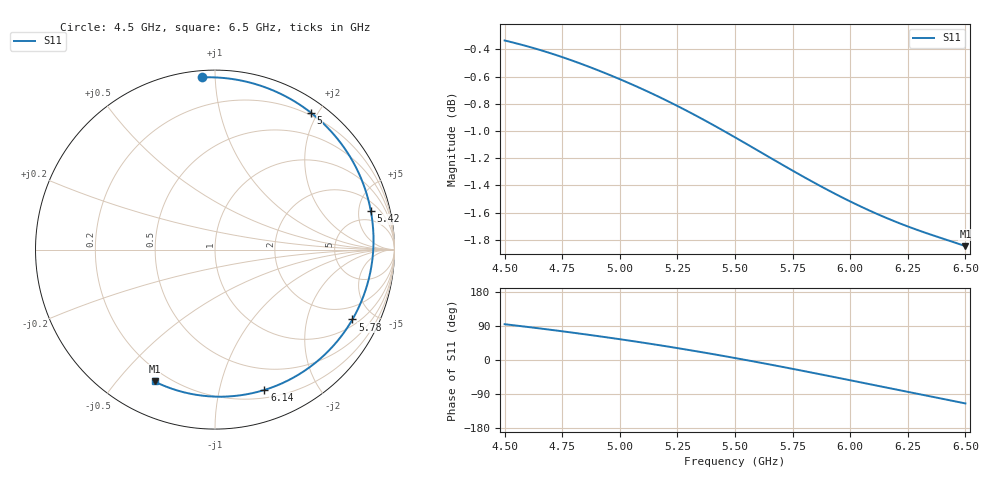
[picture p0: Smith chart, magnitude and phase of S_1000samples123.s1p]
! TOUCHSTONE file generated by CST MICROWAVE STUDIO
! Date and time: Thu Oct 27 02:00:28 2022
! Project name: L.cst
! Parameters = {Di=1.27; Epsilon_r=1.56; InnerDiameter=1.27; Length=2; Lf=10; Lg=60; OuterConductorThickness=0.2921; OuterDiameter=3.6; Wf=3; Wp=41.2; de=1.5; df=6.8; g=0.8; gx=4.29903; gy=3.35934; h=2.34; hf=1.524; px=10.1988; py=12.1568; w=9.7; wx=5.89976; wy=8.79751}
! Header version: 2018
! Port assignment regex: !\s*Touchstone port\s*([0-9]+)\s*=\s*(CST MWS port|CST DS port)\s*([0-9]+|Zmin|Zmax)\s*\(\"(.*)\"\)(\s*mode\s*([0-9]+))?.*
! Touchstone port assignment:
! Touchstone port 1 = CST MWS port 1 ("")
# GHz S DB R 50
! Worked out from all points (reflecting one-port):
!   101 points, 4.5 GHz to 6.5 GHz, reference 50 ohm
!   lowest |S11| = -1.8 dB at 6.5 GHz (marker M1), VSWR 9.44, Z = 7.44 - j31.6 ohm
!   phase of S11 starts at 94 deg and turns -209 deg over the sweep
!   S11 on the Smith chart (normalised r, x): 4.5 GHz: 0.04, +0.92; 5 GHz: 0.17, +1.91; 5.42 GHz: 3.16, +6.77; 5.78 GHz: 1.27, -3.77; 6.14 GHz: 0.28, -1.38; 6.5 GHz: 0.15, -0.63
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4.5  -0.33 94.4
4.58  -0.37 88.7
4.64  -0.40 84.2
4.76  -0.46 75.0
4.88  -0.54 65.2
5  -0.62 54.9
5.12  -0.71 43.9
5.18  -0.76 38.2
5.26  -0.82 30.4
5.34  -0.90 22.3
5.42  -0.97 13.9
5.5  -1.05 5.2
5.58  -1.13 -3.7
5.64  -1.18 -10.6
5.7  -1.24 -17.5
5.76  -1.30 -24.6
5.78  -1.32 -26.9
5.88  -1.41 -38.9
5.94  -1.47 -46.2
6  -1.52 -53.5
6.08  -1.58 -63.2
6.14  -1.63 -70.6
6.2  -1.67 -77.9
6.26  -1.71 -85.3
6.32  -1.75 -92.6
6.38  -1.78 -99.9
6.44  -1.81 -107.3
6.5  -1.85 -114.6
